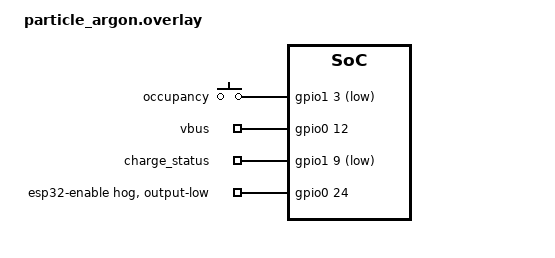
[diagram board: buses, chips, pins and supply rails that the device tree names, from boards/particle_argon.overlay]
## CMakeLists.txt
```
# SPDX-License-Identifier: Apache-2.0

cmake_minimum_required(VERSION 3.20.0)
set(CMAKE_EXPORT_COMPILE_COMMANDS ON)
find_package(Zephyr REQUIRED HINTS $ENV{ZEPHYR_BASE})
project(presence-sensor)

FILE(GLOB app_sources src/*.c)
target_sources(app PRIVATE ${app_sources})
```

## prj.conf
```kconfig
CONFIG_GPIO=y
CONFIG_ADC=y
CONFIG_GPIO_HOGS=y
CONFIG_PM_DEVICE=y
CONFIG_POWEROFF=y
CONFIG_BT=y
CONFIG_BT_PERIPHERAL=y
CONFIG_BT_DEVICE_NAME="BTHome"
CONFIG_LOG=y
CONFIG_LOG_BUFFER_SIZE=8192
CONFIG_LOG_PROCESS_TRIGGER_THRESHOLD=0
```

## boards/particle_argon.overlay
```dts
#include <zephyr/dt-bindings/gpio/gpio.h>

/ {
	gpio_keys {
		occupancy_sw: sw {
			// D8 on the feather interconnect
			gpios = <&gpio1 3 GPIO_ACTIVE_LOW>;
			label = "occupancy";
		};

		vbus_det: vbus {
			gpios = <&gpio0 12 GPIO_ACTIVE_HIGH>;
			label = "vbus";
		};

		charge_status: chg {
			gpios = <&gpio1 9 GPIO_ACTIVE_LOW>;
			label = "charge_status";
		};
	};
};

&gpio0 {
	// power off the esp32
	esp32-enable {
		gpio-hog;
		gpios = <24 GPIO_ACTIVE_HIGH>;
		output-low;
	};
};
```

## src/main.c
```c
// SPDX-License-Identifier: Apache-2.0

#include <zephyr/drivers/gpio.h>
#include <zephyr/logging/log.h>

#include "battery.h"
#include "bt.h"
#include "util.h"
#include "config.h"

LOG_MODULE_REGISTER(MAIN, LOG_LEVEL_INF);

const struct gpio_dt_spec occupancy_sw = GPIO_DT_SPEC_GET(DT_NODELABEL(occupancy_sw), gpios);
const struct gpio_dt_spec vbus_det = GPIO_DT_SPEC_GET(DT_NODELABEL(vbus_det), gpios);
const struct gpio_dt_spec charge_status = GPIO_DT_SPEC_GET(DT_NODELABEL(charge_status), gpios);

const struct device *const console = DEVICE_DT_GET(DT_CHOSEN(zephyr_console));

static struct gpio_callback switch_cb_data;
static struct gpio_callback vbus_det_cb_data;
static struct gpio_callback charge_status_cb_data;

int main(void)
{
	LOG_INF("Occupancy sensor application running on %s", CONFIG_BOARD);

	// GPIO config and interrupt setup
	gpio_pin_configure_dt(&occupancy_sw, GPIO_INPUT);
	gpio_pin_interrupt_configure_dt(&occupancy_sw, GPIO_INT_EDGE_BOTH);
	gpio_init_callback(&switch_cb_data, switch_state_callback, BIT(occupancy_sw.pin));
	gpio_add_callback(occupancy_sw.port, &switch_cb_data);

	gpio_pin_configure_dt(&vbus_det, GPIO_INPUT);
	gpio_pin_interrupt_configure_dt(&vbus_det, GPIO_INT_EDGE_BOTH);
	gpio_init_callback(&vbus_det_cb_data, charge_state_callback, BIT(vbus_det.pin));
	gpio_add_callback(vbus_det.port, &vbus_det_cb_data);

	// only enable pull-up at runtime
	gpio_pin_configure_dt(&charge_status, (GPIO_INPUT | GPIO_PULL_UP));
	gpio_pin_interrupt_configure_dt(&charge_status, GPIO_INT_EDGE_BOTH);
	gpio_init_callback(&charge_status_cb_data, charge_state_callback, BIT(charge_status.pin));
	gpio_add_callback(charge_status.port, &charge_status_cb_data);

	LOG_INF("Setup complete");

	sensor_update();
	advertising_start();

	return 0;
}
```

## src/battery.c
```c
/*
 * Copyright (c) 2018-2019 Peter Bigot Consulting, LLC
 * Copyright (c) 2019-2020 Nordic Semiconductor ASA
 *
 * SPDX-License-Identifier: Apache-2.0
 */

#include <math.h>
#include <stdio.h>
#include <stdlib.h>

#include <zephyr/kernel.h>
#include <zephyr/init.h>
#include <zephyr/drivers/gpio.h>
#include <zephyr/drivers/adc.h>
#include <zephyr/drivers/sensor.h>
#include <zephyr/logging/log.h>

#include "battery.h"

LOG_MODULE_REGISTER(BATTERY, CONFIG_ADC_LOG_LEVEL);

#define VBATT       DT_PATH(vbatt)
#define ZEPHYR_USER DT_PATH(zephyr_user)

#ifdef CONFIG_BOARD_THINGY52_NRF52832
/* This board uses a divider that reduces max voltage to
 * reference voltage (600 mV).
 */
#define BATTERY_ADC_GAIN ADC_GAIN_1
#else
/* Other boards may use dividers that only reduce battery voltage to
 * the maximum supported by the hardware (3.6 V)
 */
#define BATTERY_ADC_GAIN ADC_GAIN_1_6
#endif

struct io_channel_config {
	uint8_t channel;
};

struct divider_config {
	struct io_channel_config io_channel;
	struct gpio_dt_spec power_gpios;
	/* output_ohm is used as a flag value: if it is nonzero then
	 * the battery is measured through a voltage divider;
	 * otherwise it is assumed to be directly connected to Vdd.
	 */
	uint32_t output_ohm;
	uint32_t full_ohm;
};

static const struct divider_config divider_config = {
#if DT_NODE_HAS_STATUS_OKAY(VBATT)
	.io_channel =
		{
			DT_IO_CHANNELS_INPUT(VBATT),
		},
	.power_gpios = GPIO_DT_SPEC_GET_OR(VBATT, power_gpios, {}),
	.output_ohm = DT_PROP(VBATT, output_ohms),
	.full_ohm = DT_PROP(VBATT, full_ohms),
#else  /* /vbatt exists */
	.io_channel =
		{
			DT_IO_CHANNELS_INPUT(ZEPHYR_USER),
		},
#endif /* /vbatt exists */
};

struct divider_data {
	const struct device *adc;
	struct adc_channel_cfg adc_cfg;
	struct adc_sequence adc_seq;
	int16_t raw;
};
static struct divider_data divider_data = {
#if DT_NODE_HAS_STATUS_OKAY(VBATT)
	.adc = DEVICE_DT_GET(DT_IO_CHANNELS_CTLR(VBATT)),
#else
	.adc = DEVICE_DT_GET(DT_IO_CHANNELS_CTLR(ZEPHYR_USER)),
#endif
};

static int divider_setup(void)
{
	const struct divider_config *cfg = &divider_config;
	const struct io_channel_config *iocp = &cfg->io_channel;
	const struct gpio_dt_spec *gcp = &cfg->power_gpios;
	struct divider_data *ddp = &divider_data;
	struct adc_sequence *asp = &ddp->adc_seq;
	struct adc_channel_cfg *accp = &ddp->adc_cfg;
	int rc;

	if (!device_is_ready(ddp->adc)) {
		LOG_ERR("ADC device is not ready %s", ddp->adc->name);
		return -ENOENT;
	}

	if (gcp->port) {
		if (!device_is_ready(gcp->port)) {
			LOG_ERR("%s: device not ready", gcp->port->name);
			return -ENOENT;
		}
		rc = gpio_pin_configure_dt(gcp, GPIO_OUTPUT_INACTIVE);
		if (rc != 0) {
			LOG_ERR("Failed to control feed %s.%u: %d", gcp->port->name, gcp->pin, rc);
			return rc;
		}
	}

	*asp = (struct adc_sequence){
		.channels = BIT(0),
		.buffer = &ddp->raw,
		.buffer_size = sizeof(ddp->raw),
		.oversampling = 4,
		.calibrate = true,
	};

#ifdef CONFIG_ADC_NRFX_SAADC
	*accp = (struct adc_channel_cfg){
		.gain = BATTERY_ADC_GAIN,
		.reference = ADC_REF_INTERNAL,
		.acquisition_time = ADC_ACQ_TIME(ADC_ACQ_TIME_MICROSECONDS, 40),
	};

	if (cfg->output_ohm != 0) {
		accp->input_positive = SAADC_CH_PSELP_PSELP_AnalogInput0 + iocp->channel;
	} else {
		accp->input_positive = SAADC_CH_PSELP_PSELP_VDD;
	}

	asp->resolution = 14;
#else /* CONFIG_ADC_var */
#error Unsupported ADC
#endif /* CONFIG_ADC_var */

	rc = adc_channel_setup(ddp->adc, accp);
	LOG_INF("Setup AIN%u got %d", iocp->channel, rc);

	return rc;
}

static bool battery_ok;

static int battery_setup(void)
{
	int rc = divider_setup();

	battery_ok = (rc == 0);
	LOG_INF("Battery setup: %d %d", rc, battery_ok);
	return rc;
}

SYS_INIT(battery_setup, APPLICATION, CONFIG_APPLICATION_INIT_PRIORITY);

int battery_measure_enable(bool enable)
{
	int rc = -ENOENT;

	if (battery_ok) {
		const struct gpio_dt_spec *gcp = &divider_config.power_gpios;

		rc = 0;
		if (gcp->port) {
			rc = gpio_pin_set_dt(gcp, enable);
		}
	}
	return rc;
}

int battery_sample(void)
{
	int rc = -ENOENT;

	if (battery_ok) {
		struct divider_data *ddp = &divider_data;
		const struct divider_config *dcp = &divider_config;
		struct adc_sequence *sp = &ddp->adc_seq;

		rc = adc_read(ddp->adc, sp);
		sp->calibrate = false;
		if (rc == 0) {
			int32_t val = ddp->raw;

			adc_raw_to_millivolts(adc_ref_internal(ddp->adc), ddp->adc_cfg.gain,
					      sp->resolution, &val);

			if (dcp->output_ohm != 0) {
				rc = val * (uint64_t)dcp->full_ohm / dcp->output_ohm;
				LOG_INF("raw %u ~ %u mV => %d mV", ddp->raw, val, rc);
			} else {
				rc = val;
				LOG_INF("raw %u ~ %u mV", ddp->raw, val);
			}
		}
	}

	return rc;
}

unsigned int battery_level_pptt(unsigned int batt_mV, const struct battery_level_point *curve)
{
	const struct battery_level_point *pb = curve;

	if (batt_mV >= pb->lvl_mV) {
		/* Measured voltage above highest point, cap at maximum. */
		return pb->lvl_pptt;
	}
	/* Go down to the last point at or below the measured voltage. */
	while ((pb->lvl_pptt > 0) && (batt_mV < pb->lvl_mV)) {
		++pb;
	}
	if (batt_mV < pb->lvl_mV) {
		/* Below lowest point, cap at minimum */
		return pb->lvl_pptt;
	}

	/* Linear interpolation between below and above points. */
	const struct battery_level_point *pa = pb - 1;

	return pb->lvl_pptt +
	       ((pa->lvl_pptt - pb->lvl_pptt) * (batt_mV - pb->lvl_mV) / (pa->lvl_mV - pb->lvl_mV));
}
```

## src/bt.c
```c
// SPDX-License-Identifier: Apache-2.0

#include "config.h"

#include <zephyr/bluetooth/bluetooth.h>
#include <zephyr/bluetooth/uuid.h>
#include <zephyr/logging/log.h>

LOG_MODULE_REGISTER(BT, LOG_LEVEL_INF);

#define SERVICE_DATA_LEN 12
#define SERVICE_UUID     0xfcd2 /* BTHome service UUID */
#define IDX_BATTERY_PCT  4
#define IDX_VOLTAGEL     6
#define IDX_VOLTAGEH     7
#define IDX_CHRG         9
#define IDX_OCCUPANCY    11

K_SEM_DEFINE(bt_adv_sem, 0, 1);

#define ADV_PARAM                                                                                  \
	BT_LE_ADV_PARAM(BT_LE_ADV_OPT_USE_IDENTITY, BT_GAP_ADV_FAST_INT_MIN_2,                       \
			BT_GAP_ADV_FAST_INT_MAX_2, NULL)

static uint8_t service_data[SERVICE_DATA_LEN] = {
	BT_UUID_16_ENCODE(SERVICE_UUID),
	0x44, /* BTHome Device Information */
	0x01, /* battery % */
	0x00,
	0x0c, /* voltage */
	0x00,
	0x00,
	0x16, /* battery charging */
	0x00,
	0x23, /* occupancy */
	0x00,
};

static struct bt_data ad[] = {
	BT_DATA_BYTES(BT_DATA_FLAGS, BT_LE_AD_GENERAL | BT_LE_AD_NO_BREDR),
	BT_DATA(BT_DATA_NAME_COMPLETE, CONFIG_BT_DEVICE_NAME, sizeof(CONFIG_BT_DEVICE_NAME) - 1),
	BT_DATA(BT_DATA_SVC_DATA16, service_data, ARRAY_SIZE(service_data))};

static void bt_ready(int err)
{
	if (err) {
		LOG_ERR("Bluetooth init failed (err %d)", err);
		return;
	}

	// start advertising
	err = bt_le_adv_start(ADV_PARAM, ad, ARRAY_SIZE(ad), NULL, 0);
	if (err) {
		LOG_ERR("Advertising failed to start (err %d)", err);
		return;
	}
}

int advertising_start(void)
{
	int rc = 0;
	// wait until data is ready
	k_sem_take(&bt_adv_sem, K_FOREVER);

	rc = bt_enable(bt_ready);
	if (rc) {
		LOG_ERR("Bluetooth init failed (err %d)", rc);
	}

	LOG_INF("Bluetooth initialized");
	return rc;
}

int advertising_update(int occupancy, int mv, int percentage, int charge_state)
{
	int err;
	LOG_INF("Updating advertising data");
	LOG_INF("occupancy %d, voltage %d, percentage %d, charge state %d", occupancy, mv,
		percentage, charge_state);

	// populate data
	service_data[IDX_BATTERY_PCT] = percentage;
	service_data[IDX_VOLTAGEH] = (mv) >> 8;
	service_data[IDX_VOLTAGEL] = (mv) & 0xff;
	service_data[IDX_CHRG] = charge_state;
	service_data[IDX_OCCUPANCY] = occupancy;

	// unblock BT init
	k_sem_give(&bt_adv_sem);

	err = bt_le_adv_update_data(ad, ARRAY_SIZE(ad), NULL, 0);
	if (err) {
		LOG_ERR("Failed to update advertising data (err %d)", err);
		return err;
	}

	return 0;
}
```

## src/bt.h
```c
// SPDX-License-Identifier: Apache-2.0

int advertising_start(void);
int advertising_update(int occupancy, int mv, int percentage, int charge_state);
```

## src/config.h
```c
// SPDX-License-Identifier: Apache-2.0

#define SLEEP_TIMEOUT_SEC  10
#define DEBOUNCE_TIMER_SEC 1

extern const struct gpio_dt_spec occupancy_sw;
extern const struct gpio_dt_spec vbus_det;
extern const struct gpio_dt_spec charge_status;
extern const struct device *const console;
```

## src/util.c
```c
// SPDX-License-Identifier: Apache-2.0

#include <zephyr/drivers/gpio.h>
#include <zephyr/pm/device.h>
#include <zephyr/sys/poweroff.h>
#include <zephyr/logging/log.h>
#include <zephyr/logging/log_ctrl.h>

#include "battery.h"
#include "bt.h"
#include "config.h"

#define STACKSIZE 1024
#define PRIORITY  7

LOG_MODULE_REGISTER(UTIL, LOG_LEVEL_INF);

void sensor_helper();
void sensor_update();
void sleep_timer_handler(struct k_timer *dummy);
void debounce_timer_handler(struct k_timer *dummy);
void system_sleep(struct k_work *work);

K_SEM_DEFINE(sensor_sem, 0, 1);
K_SEM_DEFINE(debounce_sem, 0, 1);
K_THREAD_DEFINE(sensor_helper_id, STACKSIZE, sensor_helper, NULL, NULL, NULL, PRIORITY, 0, 0);
K_TIMER_DEFINE(sleep_timer, sleep_timer_handler, NULL);
K_TIMER_DEFINE(debounce_timer, debounce_timer_handler, NULL);
K_WORK_DEFINE(system_sleep_work, system_sleep);

void wait_on_log_flushed(void)
{
	while (log_buffered_cnt()) {
		k_sleep(K_MSEC(20));
	}
}

// timer manipulation and expiry handlers

void sleep_timer_start(void)
{
	LOG_INF("Sleep timer started, system off in %i seconds", SLEEP_TIMEOUT_SEC);
	k_timer_start(&sleep_timer, K_SECONDS(SLEEP_TIMEOUT_SEC), K_NO_WAIT);
}

void sleep_timer_stop(void)
{
	LOG_INF("Sleep timer stopped");
	k_timer_stop(&sleep_timer);
}

void sleep_timer_handler(struct k_timer *dummy)
{
	k_work_submit(&system_sleep_work);
}

void debounce_timer_handler(struct k_timer *dummy)
{
	k_sem_give(&debounce_sem);
}

// Power related functions

/** A discharge curve specific to the power source. */
static const struct battery_level_point levels[] = {
	/* "Curve" here eyeballed from captured data for the [Adafruit
	 * 3.7v 2000 mAh](https://www.adafruit.com/product/2011) LIPO
	 * under full load that started with a charge of 3.96 V and
	 * dropped about linearly to 3.58 V over 15 hours.  It then
	 * dropped rapidly to 3.10 V over one hour, at which point it
	 * stopped transmitting.
	 *
	 * Based on eyeball comparisons we'll say that 15/16 of life
	 * goes between 3.95 and 3.55 V, and 1/16 goes between 3.55 V
	 * and 3.1 V.
	 */

	{10000, 3950},
	{625, 3550},
	{0, 3100},
};

int power_state_read(int *out_mv, int *out_percentage, int *out_charge_state, int *out_vbus)
{
	// enable ADC
	int rc = battery_measure_enable(true);
	if (rc != 0) {
		LOG_ERR("Failed to enable ADC");
		return rc;
	}

	// sample battery voltage
	*out_mv = battery_sample();
	if (*out_mv < 0) {
		LOG_ERR("Failed to read battery voltage: %d", *out_mv);
		rc = -1;
		return rc;
	}
	LOG_INF("Battery voltage: %d mV", *out_mv);

	// calculate battery percentage
	*out_percentage = battery_level_pptt(*out_mv, levels) / 100;
	LOG_INF("Battery percentage: %d", *out_percentage);

	// get vbus status
	*out_vbus = gpio_pin_get_dt(&vbus_det);
	LOG_INF("VBUS: %d", *out_vbus);

	// charge state should be ignored if vbus is not present
	if (*out_vbus == 1) {
		*out_charge_state = gpio_pin_get_dt(&charge_status);
	} else {
		*out_charge_state = 0;
	}

	LOG_INF("Charging state: %d", *out_charge_state);

	// disable ADC
	rc = battery_measure_enable(false);
	if (rc != 0) {
		LOG_ERR("Failed to disable ADC");
		return rc;
	}

	return 0;
}

void system_sleep(struct k_work *work)
{
	LOG_INF("Sleep timer expired");
	int state = gpio_pin_get_dt(&occupancy_sw);
	LOG_INF("Switch state: %i", state);
	state = !state;
	LOG_INF("Setting wakeup state to: %i", state);
	gpio_pin_interrupt_configure_dt(&occupancy_sw, state);
	// Disable pull-up on CHG to save power
	gpio_pin_configure_dt(&charge_status, GPIO_INPUT);
	LOG_INF("Entering system off");
	wait_on_log_flushed();

	pm_device_action_run(console, PM_DEVICE_ACTION_SUSPEND);
	sys_poweroff();
}

// sensor helper thread
void sensor_helper()
{
	while (true) {
		if (k_sem_take(&sensor_sem, K_FOREVER) == 0 &&
		    k_sem_take(&debounce_sem, K_FOREVER) == 0) {
			LOG_INF("Updating sensor data");
			sleep_timer_stop();

			// collect power info and update advertising data
			int voltage, percentage, charge_state, vbus, rc;
			rc = power_state_read(&voltage, &percentage, &charge_state, &vbus);
			int occupancy = gpio_pin_get_dt(&occupancy_sw);
			advertising_update(occupancy, voltage, percentage, charge_state);

			sleep_timer_start();
		}
	}
}

// sensor GPIO ISR
void switch_state_callback(const struct device *dev, struct gpio_callback *cb,
			   gpio_port_pins_t pins)
{
	// use debounce timer
	k_timer_start(&debounce_timer, K_SECONDS(DEBOUNCE_TIMER_SEC), K_NO_WAIT);
	k_sem_give(&sensor_sem);
}

void charge_state_callback(const struct device *dev, struct gpio_callback *cb,
			   gpio_port_pins_t pins)
{
	// ignore debounce timer and update immediately
	sensor_update();
}

void sensor_update()
{
	k_sem_give(&debounce_sem);
	k_sem_give(&sensor_sem);
}
```

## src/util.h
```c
// SPDX-License-Identifier: Apache-2.0

void wait_on_log_flushed(void);
void switch_state_callback(const struct device *dev, struct gpio_callback *cb,
			   gpio_port_pins_t pins);
void charge_state_callback(const struct device *dev, struct gpio_callback *cb,
			   gpio_port_pins_t pins);
void sensor_update(void);
```
